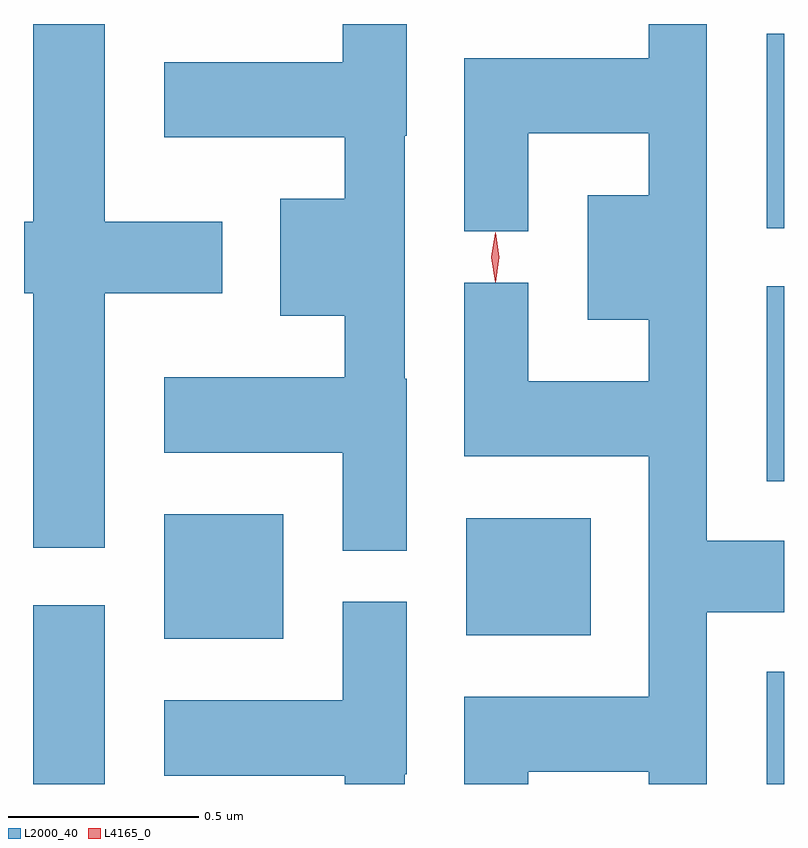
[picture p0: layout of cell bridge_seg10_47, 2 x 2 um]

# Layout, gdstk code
import gdstk
lib = gdstk.Library(unit=1e-6, precision=1e-09)
def R(c, l, rs):  # rectangles x0, y0, x1, y1
    for r in rs: c.add(gdstk.rectangle(r[:2], r[2:], *l))
def P(c, l, *ps):  # polygons
    for p in ps: c.add(gdstk.Polygon(p, *l))
L2000_40 = (2000, 40)
L4165_0 = (4165, 0)

bridge_seg10_47 = lib.new_cell('bridge_seg10_47')
R(bridge_seg10_47, L2000_40, [(1786.446,2169.464,1786.634,2169.934), (1788.376,2169.464,1788.422,2169.759), (1786.791,2169.846,1787.104,2170.174), (1787.586,2169.856,1787.914,2170.164), (1788.376,2170.261,1788.422,2170.774), (1788.376,2170.926,1788.422,2171.439)])
P(bridge_seg10_47, L2000_40, [(1787.749,2169.496),(1788.066,2169.496),(1788.066,2169.464),(1788.219,2169.464),(1788.219,2169.916),(1788.422,2169.916),(1788.422,2170.104),(1788.219,2170.104),(1788.219,2171.464),(1788.066,2171.464),(1788.066,2171.374),(1787.581,2171.374),(1787.581,2170.918),(1787.749,2170.918),(1787.749,2171.176),(1788.066,2171.176),(1788.066,2171.014),(1787.906,2171.014),(1787.906,2170.686),(1788.066,2170.686),(1788.066,2170.524),(1787.749,2170.524),(1787.749,2170.783),(1787.581,2170.783),(1787.581,2170.326),(1788.066,2170.326),(1788.066,2169.694),(1787.581,2169.694),(1787.581,2169.464),(1787.749,2169.464)],
  [(1787.429,2170.53),(1787.424,2170.53),(1787.424,2171.17),(1787.429,2171.17),(1787.429,2171.464),(1787.261,2171.464),(1787.261,2171.364),(1786.791,2171.364),(1786.791,2171.166),(1787.266,2171.166),(1787.266,2171.004),(1787.096,2171.004),(1787.096,2170.696),(1787.266,2170.696),(1787.266,2170.534),(1786.791,2170.534),(1786.791,2170.336),(1787.261,2170.336),(1787.261,2170.078),(1787.429,2170.078)],
  [(1786.634,2170.756),(1786.944,2170.756),(1786.944,2170.944),(1786.634,2170.944),(1786.634,2171.464),(1786.446,2171.464),(1786.446,2170.944),(1786.422,2170.944),(1786.422,2170.756),(1786.446,2170.756),(1786.446,2170.086),(1786.634,2170.086)],
  [(1787.424,2169.49),(1787.429,2169.49),(1787.429,2169.943),(1787.261,2169.943),(1787.261,2169.684),(1786.791,2169.684),(1786.791,2169.486),(1787.266,2169.486),(1787.266,2169.464),(1787.424,2169.464)])
P(bridge_seg10_47, L4165_0, [(1787.662,2170.784),(1787.662,2170.785),(1787.652,2170.85),(1787.662,2170.915),(1787.662,2170.916),(1787.663,2170.915),(1787.672,2170.85),(1787.663,2170.785)])

lib.write_gds('bridge_seg10_47.gds')
